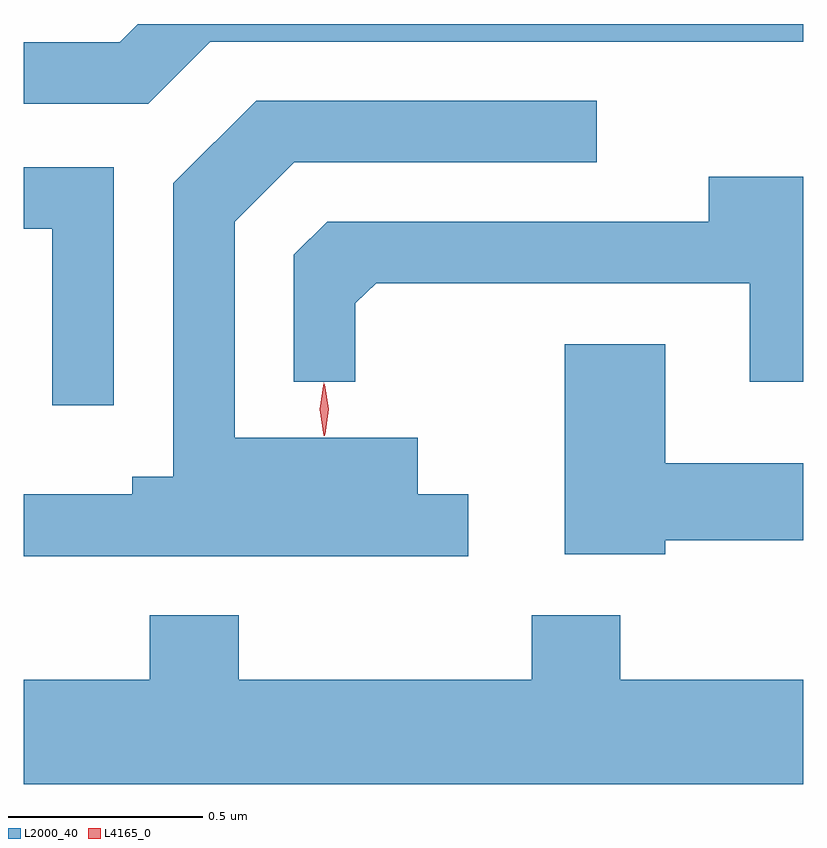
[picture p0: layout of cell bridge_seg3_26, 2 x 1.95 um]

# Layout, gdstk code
import gdstk
lib = gdstk.Library(unit=1e-6, precision=1e-09)
def P(c, l, *ps):  # polygons
    for p in ps: c.add(gdstk.Polygon(p, *l))
L2000_40 = (2000, 40)
L4165_0 = (4165, 0)

bridge_seg3_26 = lib.new_cell('bridge_seg3_26')
P(bridge_seg3_26, L2000_40, [(1304.747,1141.241),(1306.268,1141.241),(1306.268,1141.286),(1304.561,1141.286),(1304.514,1141.239),(1304.268,1141.239),(1304.268,1141.081),(1304.587,1141.081)],
  [(1305.408,1140.079),(1305.279,1140.079),(1305.279,1140.224),(1304.809,1140.224),(1304.809,1140.779),(1304.962,1140.931),(1305.738,1140.931),(1305.738,1141.089),(1304.864,1141.089),(1304.651,1140.877),(1304.651,1140.124),(1304.546,1140.124),(1304.546,1140.079),(1304.268,1140.079),(1304.268,1139.921),(1305.408,1139.921)],
  [(1304.499,1140.919),(1304.268,1140.919),(1304.268,1140.761),(1304.341,1140.761),(1304.341,1140.308),(1304.499,1140.308)],
  [(1305.119,1140.569),(1305.172,1140.621),(1306.131,1140.621),(1306.131,1140.368),(1306.268,1140.368),(1306.268,1140.894),(1306.026,1140.894),(1306.026,1140.779),(1305.047,1140.779),(1304.961,1140.694),(1304.961,1140.368),(1305.119,1140.368)],
  [(1305.914,1139.961),(1306.268,1139.961),(1306.268,1140.159),(1305.914,1140.159),(1305.914,1140.464),(1305.656,1140.464),(1305.656,1139.926),(1305.914,1139.926)],
  [(1306.268,1139.604),(1305.799,1139.604),(1305.799,1139.769),(1305.571,1139.769),(1305.571,1139.604),(1304.819,1139.604),(1304.819,1139.769),(1304.591,1139.769),(1304.591,1139.604),(1304.268,1139.604),(1304.268,1139.336),(1306.268,1139.336)])
P(bridge_seg3_26, L4165_0, [(1305.038,1140.229),(1305.028,1140.298),(1305.038,1140.366),(1305.038,1140.366),(1305.038,1140.366),(1305.048,1140.298),(1305.04,1140.229),(1305.039,1140.229)],
  [(1305.041,1140.234),(1305.041,1140.234),(1305.031,1140.298),(1305.04,1140.362),(1305.04,1140.363),(1305.04,1140.362),(1305.05,1140.298),(1305.042,1140.234)])

lib.write_gds('bridge_seg3_26.gds')
